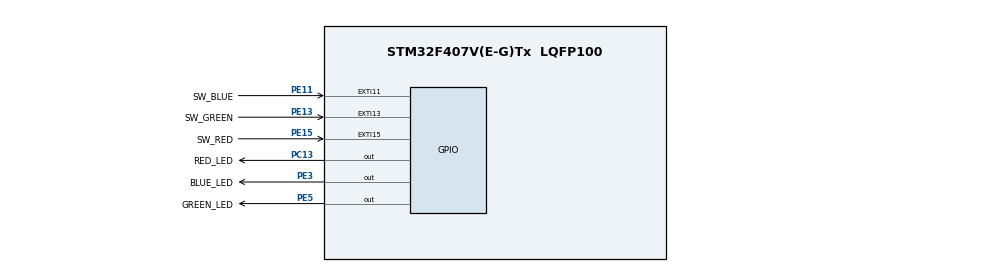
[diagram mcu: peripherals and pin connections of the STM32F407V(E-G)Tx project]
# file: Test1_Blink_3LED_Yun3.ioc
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Mcu.Family=STM32F4
PC15-OSC32_OUT.Mode=LSE-External-Oscillator
PH0-OSC_IN.Signal=RCC_OSC_IN
RCC.CortexFreq_Value=16000000
PC13-ANTI_TAMP.GPIO_Label=RED_LED
PE11.GPIO_Label=SW_BLUE
PC14-OSC32_IN.Signal=RCC_OSC32_IN
PC13-ANTI_TAMP.PinState=GPIO_PIN_SET
ProjectManager.StackSize=0x400
PA13.Signal=SYS_JTMS-SWDIO
PE11.GPIO_ModeDefaultEXTI=GPIO_MODE_IT_RISING_FALLING
PE15.GPIO_Label=SW_RED
ProjectManager.TargetToolchain=STM32CubeIDE
PE11.GPIO_PuPd=GPIO_PULLUP
PE5.Signal=GPIO_Output
PE11.Signal=GPXTI11
PC15-OSC32_OUT.Signal=RCC_OSC32_OUT
RCC.AHBFreq_Value=16000000
PH0-OSC_IN.Mode=HSE-External-Oscillator
NVIC.EXTI15_10_IRQn=true\:0\:0\:false\:false\:true\:true\:true
RCC.HSE_VALUE=25000000
board=custom
PC13-ANTI_TAMP.Signal=GPIO_Output
RCC.VCOOutputFreq_Value=192000000
PE13.GPIO_PuPd=GPIO_PULLUP
PE13.GPIO_ModeDefaultEXTI=GPIO_MODE_IT_RISING_FALLING
RCC.APB2Freq_Value=16000000
PE13.Signal=GPXTI13
PE15.Signal=GPXTI15
PC14-OSC32_IN.Mode=LSE-External-Oscillator
PA14.Mode=Serial_Wire
PH1-OSC_OUT.Signal=RCC_OSC_OUT
PA13.Mode=Serial_Wire
Mcu.Name=STM32F407V(E-G)Tx
PH1-OSC_OUT.Mode=HSE-External-Oscillator
RCC.SYSCLKFreq_VALUE=16000000
Mcu.Package=LQFP100
PE13.GPIO_Label=SW_GREEN
PE5.GPIO_Label=GREEN_LED
PA14.Signal=SYS_JTCK-SWCLK
PE15.GPIO_PuPd=GPIO_PULLUP
ProjectManager.HeapSize=0x200
PE15.GPIO_ModeDefaultEXTI=GPIO_MODE_IT_RISING_FALLING
RCC.HSI_VALUE=16000000
NVIC.PriorityGroup=NVIC_PRIORITYGROUP_4
PE3.Signal=GPIO_Output
PE3.GPIO_Label=BLUE_LED
RCC.APB1Freq_Value=16000000

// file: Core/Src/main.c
/* USER CODE BEGIN Header */
/**
  ******************************************************************************
  * @file           : main.c
  * @brief          : Main program body
  ******************************************************************************
  * @attention
  *
  * <h2><center>&copy; Copyright (c) 2021 STMicroelectronics.
  * All rights reserved.</center></h2>
  *
  * This software component is licensed by ST under BSD 3-Clause license,
  * the "License"; You may not use this file except in compliance with the
  * License. You may obtain a copy of the License at:
  *                        opensource.org/licenses/BSD-3-Clause
  *
  ******************************************************************************
  */
/* USER CODE END Header */
#include "main.h"
#include "gpio.h"

void SystemClock_Config(void);

int main(void)
{

  /* MCU Configuration--------------------------------------------------------*/

  /* Reset of all peripherals, Initializes the Flash interface and the Systick. */

  LL_APB2_GRP1_EnableClock(LL_APB2_GRP1_PERIPH_SYSCFG);
  LL_APB1_GRP1_EnableClock(LL_APB1_GRP1_PERIPH_PWR);

  NVIC_SetPriorityGrouping(NVIC_PRIORITYGROUP_4);

  /* System interrupt init*/

  /* Configure the system clock */
  SystemClock_Config();

  /* Initialize all configured peripherals */
  MX_GPIO_Init();

  /* Infinite loop */
  while (1)
  {

  }
}

void SystemClock_Config(void)
{
  LL_FLASH_SetLatency(LL_FLASH_LATENCY_0);
  while(LL_FLASH_GetLatency()!= LL_FLASH_LATENCY_0)
  {
  }
  LL_PWR_SetRegulVoltageScaling(LL_PWR_REGU_VOLTAGE_SCALE1);
  LL_RCC_HSI_SetCalibTrimming(16);
  LL_RCC_HSI_Enable();

   /* Wait till HSI is ready */
  while(LL_RCC_HSI_IsReady() != 1)
  {

  }
  LL_RCC_SetAHBPrescaler(LL_RCC_SYSCLK_DIV_1);
  LL_RCC_SetAPB1Prescaler(LL_RCC_APB1_DIV_1);
  LL_RCC_SetAPB2Prescaler(LL_RCC_APB2_DIV_1);
  LL_RCC_SetSysClkSource(LL_RCC_SYS_CLKSOURCE_HSI);

   /* Wait till System clock is ready */
  while(LL_RCC_GetSysClkSource() != LL_RCC_SYS_CLKSOURCE_STATUS_HSI)
  {

  }
  LL_Init1msTick(16000000);
  LL_SetSystemCoreClock(16000000);
}

/* USER CODE BEGIN 4 */
void SW_BLUE_EXTI_Callback(void)
{
	if(LL_GPIO_IsInputPinSet(SW_BLUE_GPIO_Port, SW_BLUE_Pin))
	{
		BLUE_ON();
	}
	else
	{
		BLUE_OFF();
	}
}

void SW_GREEN_EXTI_Callback(void)
{
	if(LL_GPIO_IsInputPinSet(SW_GREEN_GPIO_Port, SW_GREEN_Pin))
	{
		GREEN_ON();
	}
	else
	{
		GREEN_OFF();
	}
}

void SW_RED_EXTI_Callback(void)
{
	if(LL_GPIO_IsInputPinSet(SW_RED_GPIO_Port, SW_RED_Pin))
	{
		RED_ON();
	}
	else
	{
		RED_OFF();
	}
}

/* USER CODE END 4 */

void Error_Handler(void)
{
  __disable_irq();
  while (1)
  {
  }
}

/************************ (C) COPYRIGHT STMicroelectronics *****END OF FILE****/
